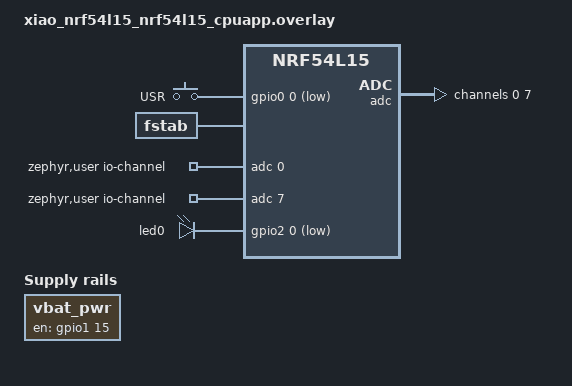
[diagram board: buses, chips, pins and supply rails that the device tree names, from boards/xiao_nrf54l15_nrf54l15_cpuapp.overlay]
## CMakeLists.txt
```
# Copyright (c) 2025 Golioth, Inc.
#
# SPDX-License-Identifier: Apache-2.0

cmake_minimum_required(VERSION 3.20.0)

find_package(Zephyr REQUIRED HINTS $ENV{ZEPHYR_BASE})
project(ble_gatt_example)

target_sources(app PRIVATE
  src/main.c
  src/battery.c
  src/credentials.c
  src/fatal_error.c
  src/ble_peripheral.c
)

target_sources_ifdef(CONFIG_GOLIOTH_OTA app PRIVATE src/fw_update.c)
```

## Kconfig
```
# Copyright (c) 2025 Golioth, Inc.
#
# SPDX-License-Identifier: Apache-2.0

config NCS_APPLICATION_BOOT_BANNER_STRING
    string
    default "Pouch BLE GATT Example"

source "$ZEPHYR_BASE/Kconfig"

config EXAMPLE_SYNC_PERIOD_S
    int "Sync Period"
    default 30
    help
      Seconds to wait after a gateway session ends before setting the sync-request
      flag in advertisements again (minimum interval between uplink attempts).

config EXAMPLE_CREDENTIALS_DIR
    string "Directory containing credentials"
    default "/lfs1/credentials"
    help
      Directory on mounted file system containing credentials.

config EXAMPLE_BT_AUTO_CONFIRM
	bool "Automatically confirm the BLE pairing passkey"
	default y if BOARD_NRF52_BSIM_NATIVE

config EXAMPLE_BATTERY_POWER_LED
	bool "Visible boot LED sequence and heartbeat (battery-only builds)"
	default n
	help
	  When UART is disabled there is no serial log. Enable a solid LED at
	  boot, slower stage blinks, and a slow heartbeat after advertising
	  so LiPo-only power can be confirmed without USB serial.

config EXAMPLE_ANTENNA_EXTERNAL
	bool "Select external IPEX antenna at boot"
	default n
	help
	  Default (n): on-board ceramic antenna (P2.05 LOW via rfsw_ctl).
	  When enabled: external antenna connector (P2.05 HIGH).
	  Runtime switching is available via ble_peripheral_antenna_set().
```

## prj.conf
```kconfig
# Copyright (c) 2025 Golioth, Inc.
#
# SPDX-License-Identifier: Apache-2.0

CONFIG_BT=y
CONFIG_BT_SMP=y
CONFIG_BT_PERIPHERAL=y
CONFIG_BT_DEVICE_NAME="Golioth"
CONFIG_BT_DEVICE_APPEARANCE=768

CONFIG_BT_BUF_ACL_TX_SIZE=251
CONFIG_BT_BUF_ACL_RX_SIZE=251
CONFIG_BT_L2CAP_TX_MTU=247

# This allows centrals that connect using Just Works authentication
# to re-pair. This can allow attackers to force a device to forget
# a legitimate bond. In production applications, we recommend using
# authenticated pairing, or if that is not an option, to limit the
# times when pairing is possible (e.g. by requiring user interaction
# to forget bonds or to enter pairing mode).
# We enable this option in the example app because in the absence of
# authenticated connections or another method for forcing the deletion
# of bond data, Centrals that lose their bonding information will be
# unable to reconnect.
CONFIG_BT_SMP_ALLOW_UNAUTH_OVERWRITE=y

# This is needed due to an off-by-one error in Kconfig defaults
CONFIG_BT_CTLR_DATA_LENGTH_MAX=251

CONFIG_BT_RX_STACK_SIZE=4096

CONFIG_MAIN_STACK_SIZE=4096
CONFIG_POUCH_THREAD_STACK_SIZE=8192
CONFIG_POUCH_UPLINK_PROCESSING_STACK_SIZE=8192

CONFIG_MBEDTLS_HEAP_SIZE=9192

# nRF54L + Golioth use nrf_security; legacy crypto avoids Zephyr/nrf Kconfig loop.
CONFIG_MBEDTLS_LEGACY_CRYPTO_C=y
CONFIG_MBEDTLS_USE_PSA_CRYPTO=y

# Pouch server certificates chain to Golioth Root X1 using ECDSA/SHA-384
# and secp384r1. Keep these explicit so the node can verify the gateway's
# server certificate chain, not just parse it.
CONFIG_PSA_WANT_ALG_SHA_384=y
CONFIG_PSA_WANT_ECC_SECP_R1_256=y
CONFIG_PSA_WANT_ECC_SECP_R1_384=y
CONFIG_PSA_WANT_KEY_TYPE_ECC_PUBLIC_KEY=y
CONFIG_MBEDTLS_ECDSA_C=y
CONFIG_MBEDTLS_ECP_C=y
CONFIG_MBEDTLS_ECP_DP_SECP256R1_ENABLED=y
CONFIG_MBEDTLS_ECP_DP_SECP384R1_ENABLED=y
# Gateway sends a PEM cert chain over BLE; without this mbedTLS treats PEM as DER.
CONFIG_MBEDTLS_PEM_PARSE_C=y
CONFIG_POUCH_CA_CERT_FILENAME="src/goliothrootx1.der"

# This option is implied by BT_SMP and breaks secp384r1 support
CONFIG_MBEDTLS_PSA_P256M_DRIVER_ENABLED=n

# Turn off default options to reduce ROM usage
CONFIG_MBEDTLS_PKCS5_C=n

# Match known-good unit 2/4 field behavior: auto-confirm pairing (no button).
CONFIG_EXAMPLE_BT_AUTO_CONFIRM=y

# Required when GOLIOTH_OTA=n (see cert.c / mbedtls_x509_crt_info).
CONFIG_MBEDTLS_X509_REMOVE_INFO=n

CONFIG_LOG=y
CONFIG_ZCBOR=y
CONFIG_REBOOT=y
CONFIG_SHELL=y
CONFIG_ADC=y
CONFIG_REGULATOR=y
CONFIG_PM_DEVICE=y

# Slower boot blinks + solid-on + heartbeat (see main.c). Use serial logs to verify on USB.
CONFIG_EXAMPLE_BATTERY_POWER_LED=y

# Minimum seconds between gateway uplink attempts (see ble_peripheral.c).
CONFIG_EXAMPLE_SYNC_PERIOD_S=30

CONFIG_POUCH=y
CONFIG_POUCH_TRANSPORT_BLE_GATT=y

CONFIG_GOLIOTH=y
CONFIG_GOLIOTH_SETTINGS=n
CONFIG_GOLIOTH_OTA=n

# Enable flash operations
CONFIG_FLASH=y
CONFIG_FLASH_MAP=y

# Enable the LittleFS file system
CONFIG_FILE_SYSTEM=y
CONFIG_FILE_SYSTEM_LITTLEFS=y
CONFIG_FILE_SYSTEM_SHELL=y

CONFIG_MCUMGR=y

# Enable console with mcumgr pass through
CONFIG_CONSOLE=y
CONFIG_UART_CONSOLE=y
CONFIG_UART_CONSOLE_MCUMGR=y

# Enable the shell mcumgr transport. This allows SMP messages to pass
# through the shell to the mgmt subsystem.
CONFIG_BASE64=y
CONFIG_CRC=y
CONFIG_MCUMGR_TRANSPORT_SHELL=y

# Enable mcumgr params to allow smpmgr to query device for its MTU
CONFIG_MCUMGR_GRP_OS=y
CONFIG_MCUMGR_GRP_OS_MCUMGR_PARAMS=y

# Enable file system commands
CONFIG_MCUMGR_GRP_FS=y

CONFIG_MCUMGR_MGMT_NOTIFICATION_HOOKS=y
CONFIG_MCUMGR_GRP_FS_FILE_ACCESS_HOOK=y

CONFIG_STREAM_FLASH=y
CONFIG_IMG_MANAGER=y
CONFIG_IMG_ERASE_PROGRESSIVELY=y
```

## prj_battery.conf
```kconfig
# Battery-only deploy (Seeed Scenario B).
#
# The default prj.conf keeps USB UART + shell + mcumgr for bench debug (Scenario A).
# With UART enabled, the XIAO nRF54L15 often fails to boot when powered only from LiPo
# (reset with USB unplugged → no BLE, no Golioth, board looks dead).
#
# Build:
#   west build -b xiao_nrf54l15/nrf54l15/cpuapp --pristine --no-sysbuild -- \
#     -DEXTRA_CONF_FILE=prj_battery.conf
#
# Provision credentials over USB first (default prj.conf build + smpmgr), then flash
# the prj_battery.conf image for field / LiPo-only operation.

CONFIG_SERIAL=n
CONFIG_UART_CONSOLE=n
CONFIG_CONSOLE=n
CONFIG_SHELL=n
CONFIG_UART_CONSOLE_MCUMGR=n
CONFIG_MCUMGR_TRANSPORT_SHELL=n
CONFIG_FILE_SYSTEM_SHELL=n
CONFIG_MCUMGR=n

# Visible power/boot indicator when serial is disabled (see main.c).
CONFIG_EXAMPLE_BATTERY_POWER_LED=y

# Stronger BLE advertising when on battery power (helps gateway discovery).
CONFIG_BT_CTLR_TX_PWR_PLUS_8=y
```

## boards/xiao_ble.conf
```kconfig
# XIAO BLE (nRF52840) UF2 layout has no MCUboot slot0_partition.
# OTA is disabled; drop image manager deps that require slot0.
CONFIG_STREAM_FLASH=n
CONFIG_IMG_MANAGER=n
CONFIG_IMG_ERASE_PROGRESSIVELY=n

# USB CDC console needs time to enumerate before mcumgr/smpmgr (see xiao_ble board doc).
CONFIG_BOOT_DELAY=3000
```

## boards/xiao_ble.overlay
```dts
/*
 * Copyright (c) 2026
 *
 * SPDX-License-Identifier: Apache-2.0
 *
 * Phase 0: soil sensor on A0 (P0.02 / SAADC AIN0) for Seeed XIAO BLE (nRF52840).
 * Battery ADC (AIN7) is added in a later phase.
 */

#include <zephyr/dt-bindings/adc/nrf-saadc.h>

/ {
	zephyr,user {
		io-channels = <&adc 0>;
	};
};

&adc {
	#address-cells = <1>;
	#size-cells = <0>;

	channel@0 {
		reg = <0>;
		zephyr,gain = "ADC_GAIN_1_6";
		zephyr,reference = "ADC_REF_INTERNAL";
		zephyr,acquisition-time = <ADC_ACQ_TIME_DEFAULT>;
		zephyr,input-positive = <NRF_SAADC_AIN0>;
		zephyr,resolution = <12>;
	};
};
```

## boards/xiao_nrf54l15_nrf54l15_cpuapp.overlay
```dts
/*
 * Copyright (c) 2026
 *
 * SPDX-License-Identifier: Apache-2.0
 */

#include <zephyr/dt-bindings/adc/nrf-saadc.h>
#include <zephyr/dt-bindings/gpio/gpio.h>
#include <zephyr/dt-bindings/input/input-event-codes.h>
#include <zephyr/dt-bindings/pinctrl/nrf-pinctrl.h>

/ {
	/* Upstream XIAO nRF54L15: LED on P2.0, button on P0.0, console on USART20 P1.9/P1.8. */
	buttons {
		compatible = "gpio-keys";
		usr_btn: usr-btn {
			gpios = <&gpio0 0 (GPIO_PULL_UP | GPIO_ACTIVE_LOW)>;
			label = "USR";
			zephyr,code = <INPUT_KEY_0>;
		};
	};

	aliases {
		sw0 = &usr_btn;
	};

	/*
	 * Omit this block if your Zephyr board DTS already defines vbat_pwr
	 * (upstream/NCS 3.2.3+ xiao_nrf54l15) and the build reports a duplicate label.
	 */
	vbat_pwr: vbat-pwr {
		compatible = "regulator-fixed";
		regulator-name = "vbat";
		enable-gpios = <&gpio1 15 GPIO_ACTIVE_HIGH>;
	};

	fstab {
		compatible = "zephyr,fstab";
		lfs1: lfs1 {
			compatible = "zephyr,fstab,littlefs";
			mount-point = "/lfs1";
			partition = <&storage_partition>;
			automount;
			read-size = <16>;
			prog-size = <16>;
			cache-size = <64>;
			lookahead-size = <32>;
			block-cycles = <512>;
		};
	};

	zephyr,user {
		/* Soil: SAADC ch0. Battery: AIN7 (SAADC ch7) via vbat_pwr divider. */
		io-channels = <&adc 0>, <&adc 7>;
	};
};

&led0 {
	gpios = <&gpio2 0 GPIO_ACTIVE_LOW>;
};

&pinctrl {
	uart20_default: uart20_default {
		group1 {
			psels = <NRF_PSEL(UART_TX, 1, 9)>;
		};
		group2 {
			psels = <NRF_PSEL(UART_RX, 1, 8)>;
			bias-pull-up;
		};
	};

	uart20_sleep: uart20_sleep {
		group1 {
			psels = <NRF_PSEL(UART_TX, 1, 9)>,
				<NRF_PSEL(UART_RX, 1, 8)>;
			low-power-enable;
		};
	};
};

/*
 * RF switch (P2.03 rfsw_pwr, P2.05 rfsw_ctl) — match upstream XIAO nRF54L15 board DTS.
 * rfsw_ctl ACTIVE_LOW + boot-on selects ceramic at reset; app can disable for IPEX.
 */
&rfsw_ctl {
	enable-gpios = <&gpio2 5 GPIO_ACTIVE_LOW>;
	regulator-boot-on;
};

&rfsw_pwr {
	regulator-boot-on;
};

&adc {
	status = "okay";
	#address-cells = <1>;
	#size-cells = <0>;

	channel@0 {
		reg = <0>;
		zephyr,gain = "ADC_GAIN_1_4";
		zephyr,reference = "ADC_REF_INTERNAL";
		zephyr,acquisition-time = <ADC_ACQ_TIME_DEFAULT>;
		zephyr,input-positive = <NRF_SAADC_AIN0>;
		zephyr,resolution = <12>;
	};

	channel@7 {
		reg = <7>;
		zephyr,gain = "ADC_GAIN_1_4";
		zephyr,reference = "ADC_REF_INTERNAL";
		zephyr,acquisition-time = <ADC_ACQ_TIME_DEFAULT>;
		zephyr,input-positive = <NRF_SAADC_AIN7>;
		zephyr,resolution = <12>;
	};
};
```

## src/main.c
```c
/*
 * Copyright (c) 2025 Golioth
 *
 * SPDX-License-Identifier: Apache-2.0
 */

#include <zephyr/logging/log.h>
LOG_MODULE_REGISTER(main);

#include "battery.h"
#include "credentials.h"
#include "ble_peripheral.h"

#include <stdbool.h>
#include <stdio.h>
#include <string.h>
#include <zephyr/kernel.h>
#include <zephyr/drivers/adc.h>
#include <zephyr/drivers/gpio.h>

#include <pouch/pouch.h>
#include <pouch/events.h>
#include <pouch/uplink.h>
#include <pouch/downlink.h>
#include <pouch/transport/gatt/common/types.h>

#ifdef CONFIG_GOLIOTH_SETTINGS
#include <pouch/golioth/settings_callbacks.h>
#endif

#include <app_version.h>

static const struct gpio_dt_spec led = GPIO_DT_SPEC_GET_OR(DT_ALIAS(led0), gpios, {});
static const struct gpio_dt_spec button = GPIO_DT_SPEC_GET_OR(DT_ALIAS(sw0), gpios, {});
static struct gpio_callback button_cb_data;
static bool led_ready;

#if IS_ENABLED(CONFIG_EXAMPLE_BATTERY_POWER_LED)
static struct k_work_delayable power_led_heartbeat_work;
static struct k_work_delayable power_led_heartbeat_off_work;

#define BLINK_ON_MS 300
#define BLINK_OFF_MS 300
#define BLINK_STAGE_PAUSE_MS 800
#else
#define BLINK_ON_MS 150
#define BLINK_OFF_MS 150
#define BLINK_STAGE_PAUSE_MS 500
#endif
static struct k_work manual_uplink_work;
static struct k_mutex manual_uplink_lock;
static char manual_uplink_payload[96];
static bool manual_uplink_pending;

#define SOIL_SENSOR_NODE DT_PATH(zephyr_user)
#define SOIL_SENSOR_DRY_RAW 2936
#define SOIL_SENSOR_WATER_RAW 2212

#if DT_NODE_HAS_PROP(SOIL_SENSOR_NODE, io_channels)
static const struct adc_dt_spec soil_sensor_adc =
    ADC_DT_SPEC_GET_BY_IDX(SOIL_SENSOR_NODE, 0);
static bool soil_sensor_ready;

static int setup_soil_sensor(void)
{
    if (!adc_is_ready_dt(&soil_sensor_adc))
    {
        LOG_WRN("Soil sensor ADC device is not ready");
        return -ENODEV;
    }

    int err = adc_channel_setup_dt(&soil_sensor_adc);
    if (err)
    {
        LOG_WRN("Could not configure soil sensor ADC channel (err %d)", err);
        return err;
    }

    soil_sensor_ready = true;
    LOG_INF("Soil sensor ADC channel configured");
    return 0;
}

static int read_soil_sensor(int16_t *raw, int32_t *millivolts)
{
    if (!soil_sensor_ready)
    {
        return -ENODEV;
    }

    struct adc_sequence sequence = {0};
    int16_t sample;
    int err = adc_sequence_init_dt(&soil_sensor_adc, &sequence);
    if (err)
    {
        LOG_WRN("ADC sequence init failed (err %d)", err);
        return err;
    }

    sequence.buffer = &sample;
    sequence.buffer_size = sizeof(sample);

    LOG_INF("Reading soil sensor ADC: device %s, channel %u, resolution %u, buffer_size %zu",
            soil_sensor_adc.dev->name,
            soil_sensor_adc.channel_id,
            sequence.resolution,
            sequence.buffer_size);

    err = adc_read_dt(&soil_sensor_adc, &sequence);
    if (err)
    {
        LOG_WRN("ADC read failed: err %d, sequence buffer_size %zu, channels 0x%x",
                err,
                sequence.buffer_size,
                (unsigned int) sequence.channels);
        return err;
    }

    int32_t sample_mv = sample;
    err = adc_raw_to_millivolts_dt(&soil_sensor_adc, &sample_mv);
    if (err)
    {
        LOG_WRN("ADC millivolt conversion failed: err %d, raw %d", err, sample);
        return err;
    }

    *raw = sample;
    *millivolts = sample_mv;
    LOG_INF("Soil sensor ADC sample: raw %d, millivolts %d", sample, sample_mv);
    return 0;
}
#else
static int setup_soil_sensor(void)
{
    LOG_WRN("No soil sensor ADC channel configured");
    return -ENODEV;
}

static int read_soil_sensor(int16_t *raw, int32_t *millivolts)
{
    ARG_UNUSED(raw);
    ARG_UNUSED(millivolts);
    return -ENODEV;
}
#endif

static int soil_sensor_raw_to_percent(int16_t raw)
{
    const int range = SOIL_SENSOR_DRY_RAW - SOIL_SENSOR_WATER_RAW;

    if (raw >= SOIL_SENSOR_DRY_RAW)
    {
        return 0;
    }

    if (raw <= SOIL_SENSOR_WATER_RAW)
    {
        return 100;
    }

    return ((SOIL_SENSOR_DRY_RAW - raw) * 100 + (range / 2)) / range;
}

/**
 * Build the JSON payload for one soil sensor reading.
 */
static void build_soil_sensor_payload(char *data, size_t data_len)
{
    int16_t raw;
    int32_t millivolts;
    int err = read_soil_sensor(&raw, &millivolts);

    if (err)
    {
        LOG_WRN("Soil sensor read failed (err %d)", err);
        snprintf(data, data_len, "{\"soil_sensor_error\":%d}", err);
    }
    else
    {
        int moisture_percent = soil_sensor_raw_to_percent(raw);

        snprintf(data,
                 data_len,
                 "{\"soil_moisture_percent\":%d,\"soil_moisture_mv\":%d,\"soil_moisture_raw\":%d}",
                 moisture_percent,
                 millivolts,
                 raw);
    }
}

static void write_soil_sensor_uplink(const char *data)
{
    int err;
    size_t data_len = strlen(data);

    LOG_INF("Writing soil sensor uplink: path .s/sensor, content_type %d, len %zu",
            POUCH_CONTENT_TYPE_JSON,
            data_len);

    err = pouch_uplink_entry_write(".s/sensor",
                                   POUCH_CONTENT_TYPE_JSON,
                                   data,
                                   data_len,
                                   POUCH_FOREVER);
    if (err)
    {
        LOG_WRN("Soil sensor uplink write failed (err %d)", err);
    }
}

/**
 * Push timeseries application data to the cloud on every uplink.
 */
static void do_uplink(void)
{
    char data[96];
    bool use_manual_payload = false;

    k_mutex_lock(&manual_uplink_lock, K_FOREVER);
    if (manual_uplink_pending)
    {
        strncpy(data, manual_uplink_payload, sizeof(data));
        data[sizeof(data) - 1] = '\0';
        manual_uplink_pending = false;
        use_manual_payload = true;
    }
    k_mutex_unlock(&manual_uplink_lock);

    if (use_manual_payload)
    {
        LOG_INF("Sending button-triggered soil sensor reading");
    }
    else
    {
        build_soil_sensor_payload(data, sizeof(data));
    }

    write_soil_sensor_uplink(data);

    build_battery_payload(data, sizeof(data));
    write_battery_uplink(data);
}

POUCH_UPLINK_HANDLER(do_uplink);

#ifdef CONFIG_GOLIOTH_SETTINGS
/**
 * Settings handler for the "LED" setting.
 *
 * The settings handler gets called when the Settings service
 * receives a new value for the registered setting.
 */
static int led_setting_cb(bool new_value)
{
    LOG_INF("Received LED setting: %d", (int) new_value);

    if (led_ready)
    {
        gpio_pin_set_dt(&led, new_value ? 1 : 0);
    }

    return 0;
}

GOLIOTH_SETTINGS_HANDLER(LED, led_setting_cb);
#endif

/**
 * Setup pouch stack.
 *
 * Loads credentials and initializes pouch.
 */
static int setup_pouch(void)
{
    struct pouch_config config = {0};

    int err = load_certificate(&config.certificate);
    if (err)
    {
        LOG_ERR("Failed to load certificate (err %d)", err);
        return err;
    }

    config.private_key = load_private_key();
    if (config.private_key == PSA_KEY_ID_NULL)
    {
        LOG_ERR("Failed to load private key");
        return -ENOENT;
    }

    LOG_INF("Credentials loaded");

    err = pouch_init(&config);
    if (err)
    {
        LOG_ERR("Pouch init failed (err %d)", err);
        return err;
    }

    LOG_INF("Pouch initialized");
    return 0;
}

/**
 * Initialize LED.
 *
 * If the LED can't be initialized, we'll log it, but not crash out.
 * The example can still work without it.
 */
static void setup_led(void)
{
    if (!DT_HAS_ALIAS(led0))
    {
        return;
    }

    int err = gpio_pin_configure_dt(&led, GPIO_OUTPUT_INACTIVE);
    if (err < 0)
    {
        LOG_WRN("Could not initialize LED");
        return;
    }

    led_ready = true;
}

#if IS_ENABLED(CONFIG_EXAMPLE_BATTERY_POWER_LED)
static void power_led_boot_indicator(void)
{
    if (!led_ready)
    {
        return;
    }

    /* Solid on ~1 s: power present and main() reached (no UART in battery builds). */
    gpio_pin_set_dt(&led, 1);
    k_msleep(1000);
    gpio_pin_set_dt(&led, 0);
    k_msleep(BLINK_STAGE_PAUSE_MS);
}

static void power_led_heartbeat_off_handler(struct k_work *work)
{
    ARG_UNUSED(work);

    if (led_ready)
    {
        gpio_pin_set_dt(&led, 0);
    }

    k_work_schedule(&power_led_heartbeat_work, K_SECONDS(4));
}

static void power_led_heartbeat_on_handler(struct k_work *work)
{
    ARG_UNUSED(work);

    if (!led_ready)
    {
        k_work_schedule(&power_led_heartbeat_work, K_SECONDS(4));
        return;
    }

    gpio_pin_set_dt(&led, 1);
    k_work_schedule(&power_led_heartbeat_off_work, K_MSEC(200));
}

static void power_led_heartbeat_start(void)
{
    k_work_init_delayable(&power_led_heartbeat_work, power_led_heartbeat_on_handler);
    k_work_init_delayable(&power_led_heartbeat_off_work, power_led_heartbeat_off_handler);
    k_work_schedule(&power_led_heartbeat_work, K_SECONDS(2));
}
#endif

static void blink_stage(uint8_t count)
{
    if (!led_ready)
    {
        return;
    }

    LOG_INF("LED stage %u", count);

    for (uint8_t i = 0; i < count; i++)
    {
        gpio_pin_set_dt(&led, 1);
        k_msleep(BLINK_ON_MS);
        gpio_pin_set_dt(&led, 0);
        k_msleep(BLINK_OFF_MS);
    }

    k_msleep(BLINK_STAGE_PAUSE_MS);
}

#if IS_ENABLED(CONFIG_EXAMPLE_BATTERY_POWER_LED)
/** Three rapid bursts — boot failed before stage 3 (usually missing credentials). */
static void blink_boot_error(void)
{
    if (!led_ready)
    {
        return;
    }

    for (int burst = 0; burst < 3; burst++)
    {
        for (int i = 0; i < 5; i++)
        {
            gpio_pin_set_dt(&led, 1);
            k_msleep(80);
            gpio_pin_set_dt(&led, 0);
            k_msleep(80);
        }

        k_msleep(400);
    }
}
#endif

static void manual_uplink_work_handler(struct k_work *work)
{
    char data[sizeof(manual_uplink_payload)];

    ARG_UNUSED(work);

    build_soil_sensor_payload(data, sizeof(data));

    k_mutex_lock(&manual_uplink_lock, K_FOREVER);
    strncpy(manual_uplink_payload, data, sizeof(manual_uplink_payload));
    manual_uplink_payload[sizeof(manual_uplink_payload) - 1] = '\0';
    manual_uplink_pending = true;
    k_mutex_unlock(&manual_uplink_lock);

    LOG_INF("Button-triggered soil sensor reading queued: %s", data);
    ble_peripheral_request_gateway(true);
}

/**
 * Button handler for Bluetooth OOB authentication and manual sensor uplinks.
 */
static void button_pressed(const struct device *dev, struct gpio_callback *cb, uint32_t pins)
{
    ARG_UNUSED(dev);
    ARG_UNUSED(cb);
    ARG_UNUSED(pins);

    ble_peripheral_button_handler();
    k_work_submit(&manual_uplink_work);
}

/**
 * Initialize button.
 *
 * If the button can't be initialized, we'll log it, but not crash out.
 * The example can still work without it.
 */
static void setup_button(void)
{
    if (!DT_HAS_ALIAS(sw0))
    {
        return;
    }

    LOG_INF("Set up button at %s pin %d", button.port->name, button.pin);

    int err = gpio_pin_configure_dt(&button, GPIO_INPUT);
    if (err < 0)
    {
        LOG_WRN("Could not initialize Button");
        return;
    }

    err = gpio_pin_interrupt_configure_dt(&button, GPIO_INT_EDGE_TO_ACTIVE);
    if (err)
    {
        LOG_WRN("Error %d: failed to configure interrupt on %s pin %d",
                err,
                button.port->name,
                button.pin);
        return;
    }

    gpio_init_callback(&button_cb_data, button_pressed, BIT(button.pin));
    gpio_add_callback(button.port, &button_cb_data);
}

int main(void)
{
    LOG_INF("Pouch SDK Version: " STRINGIFY(APP_BUILD_VERSION));
    LOG_INF("Pouch Protocol Version: %d", POUCH_VERSION);
    LOG_INF("Pouch BLE Transport Protocol Version: %d", POUCH_GATT_VERSION);

    k_mutex_init(&manual_uplink_lock);
    k_work_init(&manual_uplink_work, manual_uplink_work_handler);

    setup_led();
#if IS_ENABLED(CONFIG_EXAMPLE_BATTERY_POWER_LED)
    power_led_boot_indicator();
#endif
    blink_stage(1);

    int err = ble_peripheral_init();
    if (err)
    {
#if IS_ENABLED(CONFIG_EXAMPLE_BATTERY_POWER_LED)
        blink_boot_error();
#endif
        return err;
    }
    blink_stage(2);

    err = setup_pouch();
    if (err)
    {
#if IS_ENABLED(CONFIG_EXAMPLE_BATTERY_POWER_LED)
        blink_boot_error();
#endif
        return err;
    }
    blink_stage(3);

    setup_button();
    setup_soil_sensor();
    setup_battery();
    blink_stage(4);

    err = ble_peripheral_start(true);
    if (err)
    {
#if IS_ENABLED(CONFIG_EXAMPLE_BATTERY_POWER_LED)
        blink_boot_error();
#endif
        return err;
    }

    LOG_INF("Advertising started");

    blink_stage(5);
#if IS_ENABLED(CONFIG_EXAMPLE_BATTERY_POWER_LED)
    power_led_heartbeat_start();
#endif

    return 0;
}
```

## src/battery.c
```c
/*
 * Copyright (c) 2026 Golioth
 *
 * SPDX-License-Identifier: Apache-2.0
 */

#include "battery.h"

#include <stdio.h>
#include <string.h>

#include <zephyr/devicetree.h>
#include <zephyr/drivers/adc.h>
#include <zephyr/drivers/regulator.h>
#include <zephyr/kernel.h>
#include <zephyr/logging/log.h>

#include <pouch/types.h>
#include <pouch/uplink.h>

LOG_MODULE_REGISTER(battery, LOG_LEVEL_INF);

#define BATTERY_USER_NODE DT_PATH(zephyr_user)
#define BATTERY_ADC_IDX 1

#define BATTERY_EMPTY_MV 3000
#define BATTERY_FULL_MV 4200

#define BATTERY_REGULATOR_SETTLE_MS 100
#define BATTERY_ADC_DIVIDER 2

#if DT_NODE_EXISTS(DT_NODELABEL(vbat_pwr)) && \
    DT_NODE_HAS_PROP(BATTERY_USER_NODE, io_channels) && \
    (DT_PROP_LEN(BATTERY_USER_NODE, io_channels) > BATTERY_ADC_IDX)

static const struct device *const vbat_reg = DEVICE_DT_GET(DT_NODELABEL(vbat_pwr));
static const struct adc_dt_spec battery_adc =
    ADC_DT_SPEC_GET_BY_IDX(BATTERY_USER_NODE, BATTERY_ADC_IDX);
static bool battery_ready;

static int battery_mv_to_percent(int32_t battery_mv)
{
    const int32_t range = BATTERY_FULL_MV - BATTERY_EMPTY_MV;

    if (battery_mv <= BATTERY_EMPTY_MV)
    {
        return 0;
    }

    if (battery_mv >= BATTERY_FULL_MV)
    {
        return 100;
    }

    return (int) ((battery_mv - BATTERY_EMPTY_MV) * 100 / range);
}

static int read_battery(int32_t *battery_mv, int *percent)
{
    struct adc_sequence sequence = {0};
    int16_t sample;
    int32_t sample_mv;
    int err;

    if (!battery_ready)
    {
        return -ENODEV;
    }

    if (!device_is_ready(vbat_reg))
    {
        LOG_WRN("Battery regulator device is not ready");
        return -ENODEV;
    }

    err = regulator_enable(vbat_reg);
    if (err)
    {
        LOG_WRN("Battery regulator enable failed (err %d)", err);
        return err;
    }

    k_sleep(K_MSEC(BATTERY_REGULATOR_SETTLE_MS));

    err = adc_channel_setup_dt(&battery_adc);
    if (err)
    {
        LOG_WRN("Battery ADC channel setup failed (err %d)", err);
        goto disable_regulator;
    }

    err = adc_sequence_init_dt(&battery_adc, &sequence);
    if (err)
    {
        LOG_WRN("Battery ADC sequence init failed (err %d)", err);
        goto disable_regulator;
    }

    sequence.buffer = &sample;
    sequence.buffer_size = sizeof(sample);

    err = adc_read_dt(&battery_adc, &sequence);
    if (err)
    {
        LOG_WRN("Battery ADC read failed (err %d)", err);
        goto disable_regulator;
    }

    sample_mv = sample;
    err = adc_raw_to_millivolts_dt(&battery_adc, &sample_mv);
    if (err)
    {
        LOG_WRN("Battery ADC millivolt conversion failed (err %d)", err);
        goto disable_regulator;
    }

    *battery_mv = sample_mv * BATTERY_ADC_DIVIDER;
    *percent = battery_mv_to_percent(*battery_mv);
    LOG_INF("Battery sample: divider_mv %d, battery_mv %d, percent %d",
            sample_mv,
            *battery_mv,
            *percent);
    err = 0;

disable_regulator:
    (void) regulator_disable(vbat_reg);
    return err;
}

int setup_battery(void)
{
    if (!device_is_ready(vbat_reg))
    {
        LOG_WRN("Battery regulator is not ready");
        return -ENODEV;
    }

    if (!adc_is_ready_dt(&battery_adc))
    {
        LOG_WRN("Battery ADC device is not ready");
        return -ENODEV;
    }

    battery_ready = true;
    LOG_INF("Battery ADC and regulator configured");
    return 0;
}

void build_battery_payload(char *data, size_t data_len)
{
    int32_t battery_mv;
    int percent;
    int err = read_battery(&battery_mv, &percent);

    if (err)
    {
        LOG_WRN("Battery read failed (err %d)", err);
        snprintf(data, data_len, "{\"battery_error\":%d}", err);
    }
    else
    {
        snprintf(data,
                 data_len,
                 "{\"battery_mv\":%d,\"battery_percent\":%d}",
                 (int) battery_mv,
                 percent);
    }
}

void write_battery_uplink(const char *data)
{
    int err;
    size_t data_len = strlen(data);

    LOG_INF("Writing battery uplink: path .s/battery, content_type %d, len %zu",
            POUCH_CONTENT_TYPE_JSON,
            data_len);

    err = pouch_uplink_entry_write(".s/battery",
                                   POUCH_CONTENT_TYPE_JSON,
                                   data,
                                   data_len,
                                   POUCH_FOREVER);
    if (err)
    {
        LOG_WRN("Battery uplink write failed (err %d)", err);
    }
}

#else

int setup_battery(void)
{
    LOG_WRN("Battery measurement not configured in devicetree");
    return -ENODEV;
}

void build_battery_payload(char *data, size_t data_len)
{
    snprintf(data, data_len, "{\"battery_error\":%d}", -ENODEV);
}

void write_battery_uplink(const char *data)
{
    ARG_UNUSED(data);
}

#endif
```

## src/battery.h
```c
/*
 * Copyright (c) 2026 Golioth
 *
 * SPDX-License-Identifier: Apache-2.0
 */

#pragma once

#include <stddef.h>

/** Initialize battery measurement hardware (XIAO vbat_pwr + ADC). */
int setup_battery(void);

/** Build JSON for a battery reading into @p data (up to @p data_len bytes). */
void build_battery_payload(char *data, size_t data_len);

/** Write the battery payload to the Pouch uplink at `.s/battery`. */
void write_battery_uplink(const char *data);
```

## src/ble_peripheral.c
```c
/*
 * Copyright (c) 2026 Golioth
 *
 * SPDX-License-Identifier: Apache-2.0
 */

#include <zephyr/logging/log.h>
LOG_MODULE_REGISTER(example_ble_peripheral);

#include "ble_peripheral.h"

#include <zephyr/bluetooth/bluetooth.h>
#include <zephyr/bluetooth/conn.h>
#include <zephyr/devicetree.h>
#include <zephyr/drivers/gpio.h>
#include <zephyr/drivers/regulator.h>

#include <pouch/transport/gatt/common/types.h>
#include <pouch/types.h>

static struct bt_conn *default_conn;

#if DT_NODE_EXISTS(DT_NODELABEL(rfsw_pwr))
static const struct device *const rfsw_pwr_dev = DEVICE_DT_GET(DT_NODELABEL(rfsw_pwr));
#endif
#if DT_NODE_EXISTS(DT_NODELABEL(rfsw_ctl))
static const struct device *const rfsw_ctl_dev = DEVICE_DT_GET(DT_NODELABEL(rfsw_ctl));
#endif

#if DT_NODE_EXISTS(DT_NODELABEL(rfsw_pwr)) || DT_NODE_EXISTS(DT_NODELABEL(rfsw_ctl))
static bool antenna_external;
#endif

#if DT_NODE_EXISTS(DT_NODELABEL(rfsw_pwr)) || DT_NODE_EXISTS(DT_NODELABEL(rfsw_ctl))
static int rf_antenna_apply(bool external)
{
    int err = 0;

#if DT_NODE_EXISTS(DT_NODELABEL(rfsw_pwr))
    if (!device_is_ready(rfsw_pwr_dev))
    {
        LOG_WRN("rfsw_pwr not ready");
        return -ENODEV;
    }

    err = regulator_enable(rfsw_pwr_dev);
    if (err && err != -EALREADY)
    {
        LOG_ERR("rfsw_pwr enable failed (%d)", err);
        return err;
    }
#endif

#if DT_NODE_EXISTS(DT_NODELABEL(rfsw_ctl))
    if (!device_is_ready(rfsw_ctl_dev))
    {
        LOG_WRN("rfsw_ctl not ready");
        return -ENODEV;
    }

    if (external)
    {
        err = regulator_disable(rfsw_ctl_dev);
    }
    else
    {
        err = regulator_enable(rfsw_ctl_dev);
    }

    if (err && err != -EALREADY && err != -EBUSY)
    {
        LOG_ERR("rfsw_ctl %s failed (%d)", external ? "disable" : "enable", err);
        return err;
    }
#endif

    antenna_external = external;
    LOG_INF("Antenna: %s", external ? "external (IPEX)" : "internal (ceramic)");
    return 0;
}
#endif

int ble_peripheral_antenna_set(bool external)
{
#if DT_NODE_EXISTS(DT_NODELABEL(rfsw_pwr)) || DT_NODE_EXISTS(DT_NODELABEL(rfsw_ctl))
    return rf_antenna_apply(external);
#else
    ARG_UNUSED(external);
    return -ENOTSUP;
#endif
}

bool ble_peripheral_antenna_is_external(void)
{
#if DT_NODE_EXISTS(DT_NODELABEL(rfsw_pwr)) || DT_NODE_EXISTS(DT_NODELABEL(rfsw_ctl))
    return antenna_external;
#else
    return false;
#endif
}

#if IS_ENABLED(CONFIG_EXAMPLE_BATTERY_POWER_LED)
static const struct gpio_dt_spec connect_led = GPIO_DT_SPEC_GET_OR(DT_ALIAS(led0), gpios, {});

static void connect_led_work_handler(struct k_work *work)
{
    ARG_UNUSED(work);

    if (!gpio_is_ready_dt(&connect_led))
    {
        return;
    }

    for (int i = 0; i < 2; i++)
    {
        gpio_pin_set_dt(&connect_led, 1);
        k_msleep(500);
        gpio_pin_set_dt(&connect_led, 0);
        k_msleep(200);
    }
}

K_WORK_DEFINE(connect_led_work, connect_led_work_handler);
#endif

static struct pouch_gatt_adv service_data = POUCH_GATT_ADV_DATA_INIT;

static struct bt_data ad[] = {
    BT_DATA_BYTES(BT_DATA_FLAGS, (BT_LE_AD_GENERAL | BT_LE_AD_NO_BREDR)),
    BT_DATA(BT_DATA_SVC_DATA16, &service_data, sizeof(service_data)),
    BT_DATA(BT_DATA_NAME_COMPLETE, CONFIG_BT_DEVICE_NAME, sizeof(CONFIG_BT_DEVICE_NAME) - 1),
};

static void sync_request_work_handler(struct k_work *work);
K_WORK_DELAYABLE_DEFINE(sync_request_work, sync_request_work_handler);

static void connected(struct bt_conn *conn, uint8_t err)
{
    if (err)
    {
        LOG_DBG("Connection failed (err 0x%02x)", err);
        return;
    }

    LOG_DBG("Connected");
    default_conn = conn;

    /* Stop asking for gateway while connected (adv may resume with stale flags). */
    k_work_cancel_delayable(&sync_request_work);
    ble_peripheral_request_gateway(false);

#if IS_ENABLED(CONFIG_EXAMPLE_BATTERY_POWER_LED)
    k_work_submit(&connect_led_work);
#endif
}

static void sync_request_work_handler(struct k_work *work)
{
    ARG_UNUSED(work);

    LOG_DBG("Requesting Gateway sync");
    ble_peripheral_request_gateway(true);
}

static void disconnected(struct bt_conn *conn, uint8_t reason)
{
    ARG_UNUSED(conn);

    LOG_DBG("Disconnected (reason 0x%02x)", reason);

    default_conn = NULL;

    /*
     * Clear sync-request immediately. The stack often resumes advertising with the
     * previous payload before resume_work runs; bonded gateways then reconnect in
     * milliseconds instead of waiting CONFIG_EXAMPLE_SYNC_PERIOD_S.
     */
    k_work_cancel_delayable(&sync_request_work);
    ble_peripheral_request_gateway(false);

    k_work_schedule(&sync_request_work, K_SECONDS(CONFIG_EXAMPLE_SYNC_PERIOD_S));
}

BT_CONN_CB_DEFINE(conn_callbacks) = {
    .connected = connected,
    .disconnected = disconnected,
};

static void auth_passkey_display(struct bt_conn *conn, unsigned int passkey)
{
    char addr[BT_ADDR_LE_STR_LEN];
    char passkey_str[7];

    bt_addr_le_to_str(bt_conn_get_dst(conn), addr, sizeof(addr));

    (void) snprintf(passkey_str, sizeof(passkey_str), "%06u", passkey);

    LOG_INF("Passkey for %s: %s", addr, passkey_str);
}

static void auth_passkey_confirm(struct bt_conn *conn, unsigned int passkey)
{
    char addr[BT_ADDR_LE_STR_LEN];
    char passkey_str[7];

    bt_addr_le_to_str(bt_conn_get_dst(conn), addr, sizeof(addr));

    (void) snprintf(passkey_str, sizeof(passkey_str), "%06u", passkey);

    LOG_INF("Confirm passkey for %s: %s", addr, passkey_str);

    if (IS_ENABLED(CONFIG_EXAMPLE_BT_AUTO_CONFIRM))
    {
        LOG_INF("Confirming passkey");
        bt_conn_auth_passkey_confirm(conn);
    }
}

static void auth_cancel(struct bt_conn *conn)
{
    char addr[BT_ADDR_LE_STR_LEN];

    bt_addr_le_to_str(bt_conn_get_dst(conn), addr, sizeof(addr));

    LOG_INF("Pairing cancelled: %s", addr);
}

static struct bt_conn_auth_cb auth_cb_display = {
    .passkey_display = auth_passkey_display,
    .passkey_confirm = auth_passkey_confirm,
    .cancel = auth_cancel,
};

void ble_peripheral_request_gateway(bool request)
{
    int err;

    pouch_gatt_adv_req_sync(&service_data, request);
    err = bt_le_adv_update_data(ad, ARRAY_SIZE(ad), NULL, 0);
    if (err == -EAGAIN)
    {
        /* Not advertising yet; start with the requested sync flag. */
        (void) ble_peripheral_start(request);
    }
}

void ble_peripheral_button_handler(void)
{
    if (default_conn)
    {
        LOG_INF("Confirming passkey");
        bt_conn_auth_passkey_confirm(default_conn);
    }
    else
    {
        LOG_WRN("No BT connection for passkey confirmation");
    }
}

int ble_peripheral_init(void)
{
    int err;

#if DT_NODE_EXISTS(DT_NODELABEL(rfsw_pwr)) || DT_NODE_EXISTS(DT_NODELABEL(rfsw_ctl))
    err = rf_antenna_apply(IS_ENABLED(CONFIG_EXAMPLE_ANTENNA_EXTERNAL));
    if (err)
    {
        LOG_WRN("RF antenna init failed (%d); continuing with BLE", err);
    }
#endif

    err = bt_enable(NULL);
    if (err)
    {
        LOG_ERR("Bluetooth init failed (err %d)", err);
        return err;
    }

    err = bt_conn_auth_cb_register(&auth_cb_display);
    if (err)
    {
        LOG_ERR("Bluetooth auth cb register failed (err %d)", err);
        return err;
    }

    return 0;
}

int ble_peripheral_start(bool request_sync)
{
    pouch_gatt_adv_req_sync(&service_data, request_sync);
    return bt_le_adv_start(BT_LE_ADV_CONN_FAST_2, ad, ARRAY_SIZE(ad), NULL, 0);
}
```

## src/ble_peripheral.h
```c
/*
 * Copyright (c) 2026 Golioth, Inc.
 *
 * SPDX-License-Identifier: Apache-2.0
 */
#pragma once

#include <stdint.h>
#include <stddef.h>
#include <stdbool.h>

/**
 * Button handler for Bluetooth OOB authentication.
 */
void ble_peripheral_button_handler(void);

/**
 * Enable or disable the gateway request flag in the Bluetooth advertisements.
 */
void ble_peripheral_request_gateway(bool request);

/**
 * Select internal ceramic or external IPEX antenna (XIAO nRF54L15 RF switch).
 *
 * @param external true for external IPEX, false for on-board ceramic.
 */
int ble_peripheral_antenna_set(bool external);

/** Return true when the external IPEX antenna path is selected. */
bool ble_peripheral_antenna_is_external(void);

/**
 * Initialize application Bluetooth module.
 */
int ble_peripheral_init(void);

/**
 * Start Bluetooth advertising.
 *
 * @param request_sync If true, set POUCH_GATT_ADV_FLAG_SYNC_REQUEST so the gateway connects.
 */
int ble_peripheral_start(bool request_sync);
```
